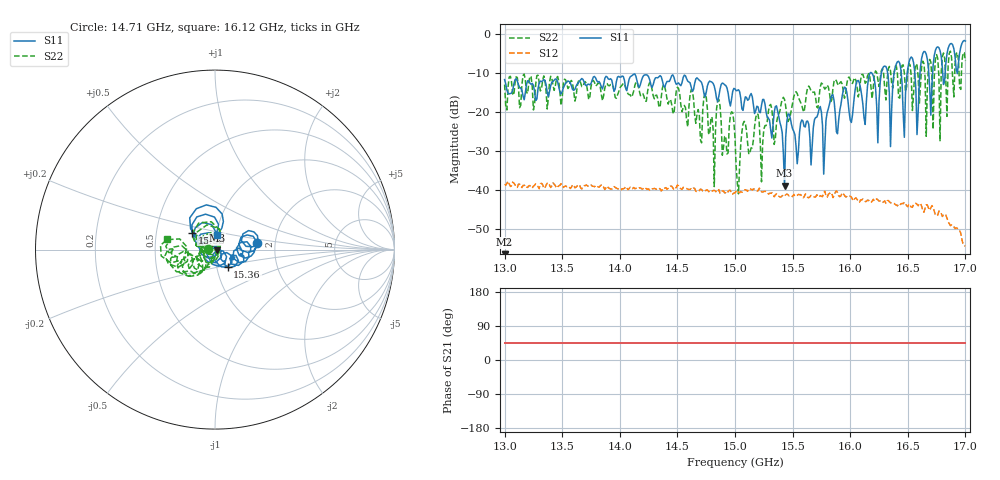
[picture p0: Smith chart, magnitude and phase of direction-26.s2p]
!Keysight Technologies,P9374A,MY57211810,A.19.30.04
!Date: Friday, May 02, 2025 08:59:16
!Correction: S11(Off)
!S21(Off)
!S12(Off)
!S22(Off)
!S2P File: Measurements: S11, S21, S12, S22:
# Hz S  dB  R 50
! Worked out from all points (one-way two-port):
!   401 points, 13 GHz to 17 GHz, reference 50 ohm
!   highest |S21| = - dB at 13 GHz (marker M1); lowest = - dB at 13 GHz (marker M2)
!   lowest |S11| = -38.8 dB at 15.43 GHz (marker M3), VSWR 1.02, Z = 51.1 - j0.372 ohm
!   |S11| at or under -10 dB: start of sweep to 16.17 GHz; 16.19 GHz to 16.27 GHz (84.1 MHz wide, 0.518 % of centre); 16.32481 GHz to 16.38102 GHz (56.21 MHz wide, 0.344 % of centre) (the widest 3 of 8)
!   |S22| runs from -40.9 to -4.4 dB; largest |S21 - S12| = 0.013
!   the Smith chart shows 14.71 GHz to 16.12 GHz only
!   S11 on the Smith chart (normalised r, x): 14.71 GHz: 1.61, +0.13; 15.36 GHz: 1.13, -0.22; 15.93 GHz: 0.76, +0.15; 16.12 GHz: 1.01, +0.17
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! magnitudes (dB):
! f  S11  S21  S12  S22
! 13 GHz  -11.7  -  -38.5  -13.0
! 13.67 GHz  -11.4  -  -39.7  -13.5
! 14.34 GHz  -10.9  -  -39.5  -18.8
! 14.71 GHz  -12.5  -  -39.9  -27.9
! 15 GHz  -14.1  -  -40.7  -26.7
! 15.03 GHz  -14.3  -  -40.4  -40.9
! 15.08 GHz  -17.5  -  -40.0  -22.4
! 15.36 GHz  -18.4  -  -41.0  -22.8
! 15.43 GHz  -38.8  -  -41.5  -16.8
! 15.67 GHz  -28.6  -  -41.5  -15.0
! 15.93 GHz  -16.0  -  -40.7  -12.8
! 16.12 GHz  -21.5  -  -42.6  -11.3
! 16.3 GHz  -8.2  -  -42.8  -14.0
! 16.34 GHz  -15.3  -  -43.0  -8.3
! 16.41 GHz  -7.1  -  -44.0  -10.2
! 16.47 GHz  -26.5  -  -43.1  -10.0
! 16.54 GHz  -6.2  -  -44.4  -19.6
! 16.58 GHz  -25.8  -  -43.6  -8.0
! 16.64 GHz  -4.5  -  -45.6  -7.6
! 16.7 GHz  -20.8  -  -44.5  -7.2
! 16.75 GHz  -3.5  -  -46.5  -5.3
! 17 GHz  -1.8  -  -54.4  -6.9
